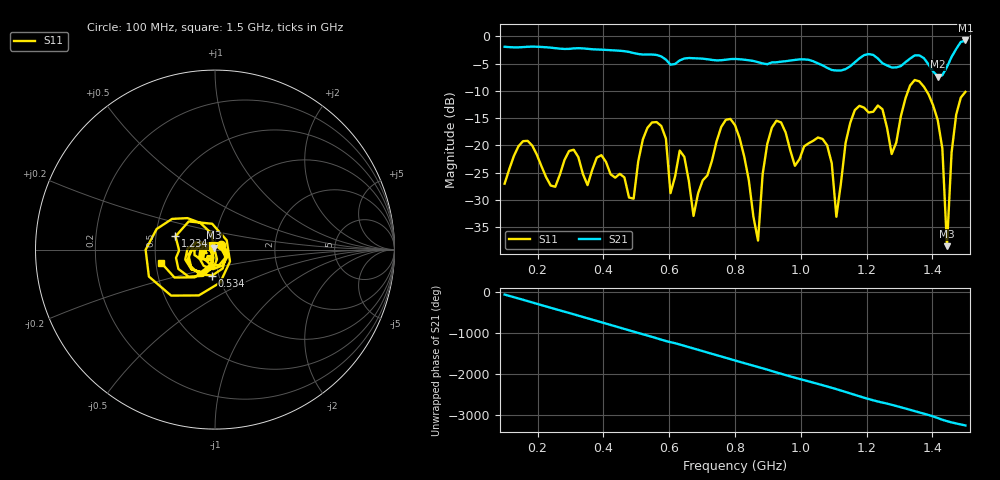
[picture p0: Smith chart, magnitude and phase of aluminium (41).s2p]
! NanoVNA-App
! Date: 2025-09-26 09:58:23
! Start: 100MHz Stop: 1,5GHz Points: 101
! S-Parameter data: F S11 S21 S12 S22
# Hz S RI R 50
!  Frequency  S11_Real  S11_Imag  S21_Real  S21_Imag  S12_Real  S12_Imag  S22_Real  S22_Imag
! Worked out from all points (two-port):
!   101 points, 100 MHz to 1.5 GHz, reference 50 ohm
!   highest |S21| = -0.76 dB at 1.5 GHz (marker M1); lowest = -7.4 dB at 1.416 GHz (marker M2)
!   |S21| within 3 dB of the highest: start of sweep to 577.7 MHz; 1.185 GHz to 1.227 GHz (42.85 MHz wide, 3.55 % of centre) (the widest 2 of 4)
!   lowest |S11| = -38.5 dB at 1.444 GHz (marker M3), VSWR 1.02, Z = 49.6 + j1.11 ohm
!   |S11| at or under -10 dB: start of sweep to 1.326 GHz; 1.382 GHz to end of sweep
!   S12 and S22 are empty: the file has one direction only
!   S11 on the Smith chart (normalised r, x): 100 MHz: 1.07, +0.06; 534 MHz: 0.93, -0.27; 1.234 GHz: 0.63, +0.10; 1.5 GHz: 0.53, -0.08
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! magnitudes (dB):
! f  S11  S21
! 100 MHz  -27.0  -1.9
! 338 MHz  -25.2  -2.2
! 492 MHz  -29.8  -3.1
! 534 MHz  -16.8  -3.3
! 576 MHz  -16.4  -3.7
! 604 MHz  -28.7  -5.2
! 632 MHz  -20.9  -4.4
! 674 MHz  -32.9  -4.0
! 800 MHz  -16.3  -4.2
! 870 MHz  -37.4  -4.7
! 912 MHz  -16.7  -4.8
! 1.038 GHz  -19.1  -4.6
! 1.08 GHz  -20.0  -5.8
! 1.108 GHz  -33.1  -6.3
! 1.164 GHz  -13.5  -4.8
! 1.234 GHz  -12.7  -4.1
! 1.276 GHz  -21.6  -5.7
! 1.346 GHz  -8.0  -3.5
! 1.416 GHz  -15.4  -7.4
! 1.444 GHz  -38.5  -5.6
! 1.458 GHz  -21.3  -3.8
! 1.5 GHz  -10.2  -0.8
